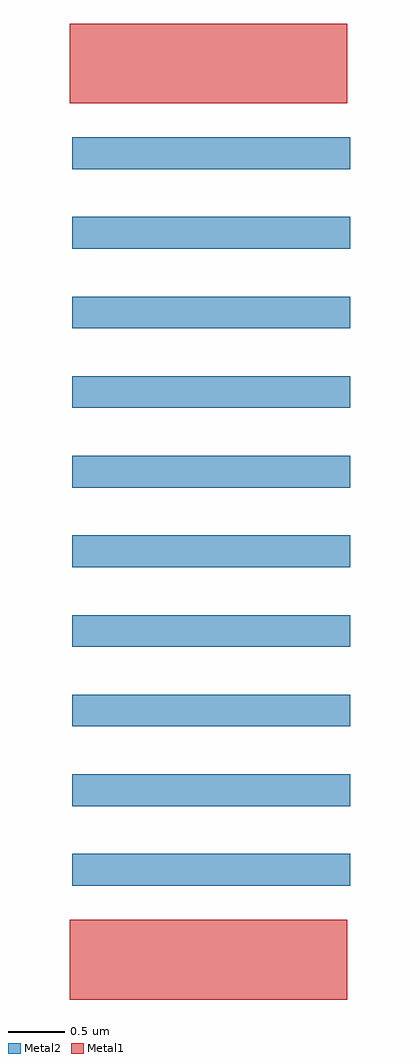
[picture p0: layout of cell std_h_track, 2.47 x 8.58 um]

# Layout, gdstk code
import gdstk
lib = gdstk.Library(unit=1e-6, precision=5e-09)
Metal1 = (34, 0)
Metal2 = (36, 0)

std_h_track = lib.new_cell('std_h_track')
std_h_track.add(gdstk.FlexPath([(-3.72,8.23),(-1.28,8.23)], 0.7, ends="flush", simple_path=True, layer=34, datatype=0))  # Metal1
std_h_track.add(gdstk.FlexPath([(-3.72,0.35),(-1.28,0.35)], 0.7, ends="flush", simple_path=True, layer=34, datatype=0))  # Metal1
std_h_track.add(gdstk.FlexPath([(-3.695,1.14),(-1.25,1.14)], 0.28, ends="flush", simple_path=True, layer=36, datatype=0))  # Metal2
std_h_track.add(gdstk.FlexPath([(-3.695,1.84),(-1.25,1.84)], 0.28, ends="flush", simple_path=True, layer=36, datatype=0))  # Metal2
std_h_track.add(gdstk.FlexPath([(-3.695,6.74),(-1.25,6.74)], 0.28, ends="flush", simple_path=True, layer=36, datatype=0))  # Metal2
std_h_track.add(gdstk.FlexPath([(-3.695,6.04),(-1.25,6.04)], 0.28, ends="flush", simple_path=True, layer=36, datatype=0))  # Metal2
std_h_track.add(gdstk.FlexPath([(-3.695,7.44),(-1.25,7.44)], 0.28, ends="flush", simple_path=True, layer=36, datatype=0))  # Metal2
std_h_track.add(gdstk.FlexPath([(-3.695,2.54),(-1.25,2.54)], 0.28, ends="flush", simple_path=True, layer=36, datatype=0))  # Metal2
std_h_track.add(gdstk.FlexPath([(-3.695,5.34),(-1.25,5.34)], 0.28, ends="flush", simple_path=True, layer=36, datatype=0))  # Metal2
std_h_track.add(gdstk.FlexPath([(-3.695,3.94),(-1.25,3.94)], 0.28, ends="flush", simple_path=True, layer=36, datatype=0))  # Metal2
std_h_track.add(gdstk.FlexPath([(-3.695,3.24),(-1.25,3.24)], 0.28, ends="flush", simple_path=True, layer=36, datatype=0))  # Metal2
std_h_track.add(gdstk.FlexPath([(-3.695,4.64),(-1.25,4.64)], 0.28, ends="flush", simple_path=True, layer=36, datatype=0))  # Metal2

lib.write_gds('std_h_track.gds')
